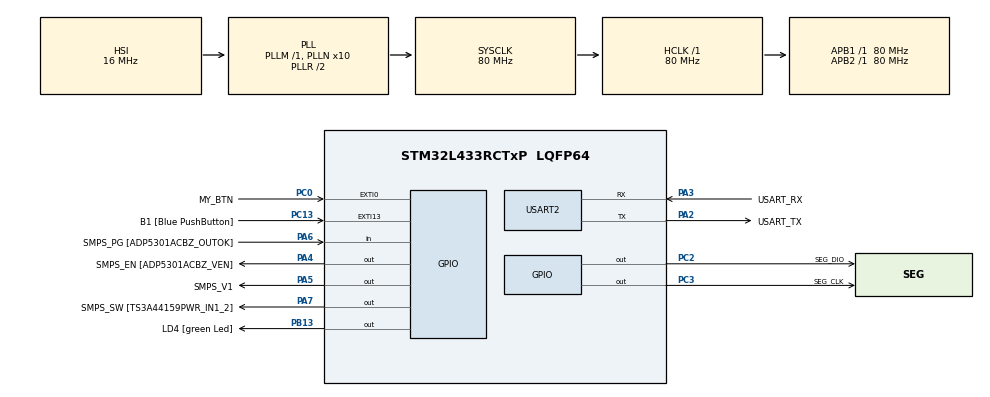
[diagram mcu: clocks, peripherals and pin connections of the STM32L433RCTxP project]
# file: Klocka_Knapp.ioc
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Mcu.Family=STM32L4
Mcu.Name=STM32L433RCTxP
Mcu.Package=LQFP64
NVIC.EXTI0_IRQn=true\:0\:0\:false\:false\:true\:true\:true\:true
NVIC.PriorityGroup=NVIC_PRIORITYGROUP_4
NVIC.TIM2_IRQn=true\:0\:0\:false\:false\:true\:true\:true\:true
PA13\ (JTMS-SWDIO).GPIO_Label=TMS
PA13\ (JTMS-SWDIO).Mode=Serial_Wire
PA13\ (JTMS-SWDIO).Signal=SYS_JTMS-SWDIO
PA14\ (JTCK-SWCLK).GPIO_Label=TCK
PA14\ (JTCK-SWCLK).Mode=Serial_Wire
PA14\ (JTCK-SWCLK).Signal=SYS_JTCK-SWCLK
PA2.GPIO_Label=USART_TX
PA2.GPIO_Mode=GPIO_MODE_AF_PP
PA2.GPIO_PuPd=GPIO_NOPULL
PA2.GPIO_Speed=GPIO_SPEED_FREQ_VERY_HIGH
PA2.Mode=Asynchronous
PA2.Signal=USART2_TX
PA3.GPIO_Label=USART_RX
PA3.GPIO_Mode=GPIO_MODE_AF_PP
PA3.GPIO_PuPd=GPIO_NOPULL
PA3.GPIO_Speed=GPIO_SPEED_FREQ_VERY_HIGH
PA3.Mode=Asynchronous
PA3.Signal=USART2_RX
PA4.GPIO_Label=SMPS_EN [ADP5301ACBZ_VEN]
PA4.Signal=GPIO_Output
PA5.GPIO_Label=SMPS_V1
PA5.GPIO_ModeDefaultOutputPP=GPIO_MODE_OUTPUT_PP
PA5.GPIO_PuPd=GPIO_NOPULL
PA5.GPIO_Speed=GPIO_SPEED_FREQ_LOW
PA5.Signal=GPIO_Output
PA6.GPIO_Label=SMPS_PG [ADP5301ACBZ_OUTOK]
PA6.GPIO_PuPd=GPIO_PULLUP
PA6.Signal=GPIO_Input
PA7.GPIO_Label=SMPS_SW [TS3A44159PWR_IN1_2]
PA7.Signal=GPIO_Output
PB13.GPIO_Label=LD4 [green Led]
PB13.Signal=GPIO_Output
PB3\ (JTDO-TRACESWO).GPIO_Label=SWO
PB3\ (JTDO-TRACESWO).Signal=SYS_JTDO-SWO
PC0.GPIO_Label=MY_BTN
PC0.GPIO_ModeDefaultEXTI=GPIO_MODE_IT_FALLING
PC0.Signal=GPXTI0
PC13.GPIO_Label=B1 [Blue PushButton]
PC13.GPIO_ModeDefaultEXTI=GPIO_MODE_IT_FALLING
PC13.GPIO_PuPd=GPIO_NOPULL
PC13.Signal=GPXTI13
PC14-OSC32_IN\ (PC14).Mode=LSE-External-Oscillator
PC14-OSC32_IN\ (PC14).Signal=RCC_OSC32_IN
PC15-OSC32_OUT\ (PC15).Mode=LSE-External-Oscillator
PC15-OSC32_OUT\ (PC15).Signal=RCC_OSC32_OUT
PC2.GPIO_Label=SEG_DIO
PC2.GPIO_ModeDefaultOutputPP=GPIO_MODE_OUTPUT_OD
PC2.GPIO_PuPd=GPIO_NOPULL
PC2.Signal=GPIO_Output
PC3.GPIO_Label=SEG_CLK
PC3.Signal=GPIO_Output
PH0-OSC_IN\ (PH0).GPIO_Label=MCO
PH0-OSC_IN\ (PH0).Mode=HSE-External-Clock-Source
PH0-OSC_IN\ (PH0).Signal=RCC_OSC_IN
PH1-OSC_OUT\ (PH1).Signal=RCC_OSC_OUT
ProjectManager.HeapSize=0x200
ProjectManager.StackSize=0x400
ProjectManager.TargetToolchain=STM32CubeIDE
RCC.ADCFreq_Value=64000000
RCC.AHBFreq_Value=80000000
RCC.APB1Freq_Value=80000000
RCC.APB1TimFreq_Value=80000000
RCC.APB2Freq_Value=80000000
RCC.APB2TimFreq_Value=80000000
RCC.CortexFreq_Value=80000000
RCC.HCLKFreq_Value=80000000
RCC.HSE_VALUE=8000000
RCC.HSI48_VALUE=48000000
RCC.HSI_VALUE=16000000
RCC.MSI_VALUE=4000000
RCC.PLLN=10
RCC.PLLSourceVirtual=RCC_PLLSOURCE_HSI
RCC.PREFETCH_ENABLE=1
RCC.SYSCLKFreq_VALUE=80000000
RCC.SYSCLKSource=RCC_SYSCLKSOURCE_PLLCLK
RCC.USBFreq_Value=64000000
RCC.VCOOutputFreq_Value=160000000
TIM2.Period=4999
TIM2.Prescaler=7999
USART2.VirtualMode-Asynchronous=VM_ASYNC
VP_TIM2_VS_ClockSourceINT.Mode=Internal
board=NUCLEO-L433RC-P

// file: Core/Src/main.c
/* USER CODE BEGIN Header */
/**
  ******************************************************************************
  * @file           : main.c
  * @brief          : Main program body
  ******************************************************************************
  * @attention
  *
  * Copyright (c) 2026 STMicroelectronics.
  * All rights reserved.
  *
  * This software is licensed under terms that can be found in the LICENSE file
  * in the root directory of this software component.
  * If no LICENSE file comes with this software, it is provided AS-IS.
  *
  ******************************************************************************
  */
/* USER CODE END Header */
#include "main.h"

/* USER CODE BEGIN Includes */
#include <stdio.h>
#include <string.h>
#include "quad_sseg.h"
/* USER CODE END Includes */

/* USER CODE BEGIN PD */
#define BOUNCE_DELAY_MS 20
/* USER CODE END PD */

TIM_HandleTypeDef htim2;

UART_HandleTypeDef huart2;

/* USER CODE BEGIN PV */
uint16_t button_exti_count;
uint16_t button_debounced_count;

uint32_t last_flank_causing_exti;

uint32_t last_managed_exti;

volatile uint32_t clock_half_seconds;

/* USER CODE END PV */

void SystemClock_Config(void);
static void MX_GPIO_Init(void);
static void MX_USART2_UART_Init(void);
static void MX_TIM2_Init(void);
/* USER CODE BEGIN PFP */
void uart_print_menu(void);
int uart_get_menu_choice(void);
void uart_print_bad_choice(void);

void clock_mode(void);
void button_mode(void);
/* USER CODE END PFP */

/* USER CODE BEGIN 0 */
void uart_print_menu(void)
{
    char menu[] =
        "\r\n"
        "1. Clock mode\r\n"
        "2. Button mode\r\n"
        "Choice: ";

    HAL_UART_Transmit(&huart2,
                      (uint8_t *)menu,
                      strlen(menu),
                      HAL_MAX_DELAY);
}

int uart_get_menu_choice(void)
{
    char str[1] = { '\0' };
    uint16_t str_len = 1;

    HAL_UART_Receive(&huart2,
                     (uint8_t *)str,
                     str_len,
                     HAL_MAX_DELAY);

    int ret = -1;
    sscanf(str, "%d", &ret);

    return ret;
}

void uart_print_bad_choice(void)
{
    char msg[] = "\r\nInvalid choice!\r\n";

    HAL_UART_Transmit(&huart2,
                      (uint8_t *)msg,
                      strlen(msg),
                      HAL_MAX_DELAY);
}

void clock_mode(void)
{
	HAL_TIM_Base_Start_IT(&htim2);

	int hours = 23;
	int minutes = 59;
	int seconds = 45;
	uint32_t last_handled_half_second = clock_half_seconds;
	int colon_on = 0;
	int b1_pressed;
	int digit1;
	int digit2;
	int digit3;
	int digit4;
    while (1)
    {
    	b1_pressed =
    	    GPIO_PIN_RESET == HAL_GPIO_ReadPin(B1_GPIO_Port, B1_Pin);
    	if (b1_pressed)
    	{
    	    digit1 = hours / 10;
    	    digit2 = hours % 10;
    	    digit3 = minutes / 10;
    	    digit4 = minutes % 10;
    	}
    	else
    	{
    	    digit1 = minutes / 10;
    	    digit2 = minutes % 10;
    	    digit3 = seconds / 10;
    	    digit4 = seconds % 10;
    	}
    	qs_put_digits(digit1, digit2, digit3, digit4, colon_on);
    	static uint32_t last_colon_half_second = 0;

    	if (clock_half_seconds != last_colon_half_second)
    	{
    	    last_colon_half_second = clock_half_seconds;
    	    colon_on = !colon_on;
    	}
    	b1_pressed =
    	    GPIO_PIN_RESET == HAL_GPIO_ReadPin(B1_GPIO_Port, B1_Pin);
    	if (clock_half_seconds - last_handled_half_second >= 2)
    	{
    	    last_handled_half_second += 2;
    	    seconds++;
    	    if (seconds >= 60)
    	    {
    	        seconds = 0;
    	        minutes++;
    	    }
    	    if (minutes >= 60)
    	    {
    	        minutes = 0;
    	        hours++;
    	    }
    	    if (hours >= 24)
    	    {
    	        hours = 0;
    	    }
    	}
    }
}

void button_mode(void)
{

    int b1_pressed;

    while (1)
    {
    	uint32_t now = HAL_GetTick();

    	if (last_flank_causing_exti != last_managed_exti)
    	{
    		if ((now - last_flank_causing_exti) >= BOUNCE_DELAY_MS)
    		{
    		    int pressed =
    		        GPIO_PIN_RESET == HAL_GPIO_ReadPin(MY_BTN_GPIO_Port, MY_BTN_Pin);

    		    if (pressed)
    		    {
    		        button_debounced_count++;
    		    }

    		    last_managed_exti = last_flank_causing_exti;
    		}
    	}
        b1_pressed =
            GPIO_PIN_RESET == HAL_GPIO_ReadPin(B1_GPIO_Port, B1_Pin);
        qs_put_big_num(b1_pressed ? button_exti_count
                                         : button_debounced_count);

    }
}
/* USER CODE END 0 */

int main(void)
{

  /* MCU Configuration--------------------------------------------------------*/

  /* Reset of all peripherals, Initializes the Flash interface and the Systick. */
  HAL_Init();

  /* Configure the system clock */
  SystemClock_Config();

  /* Initialize all configured peripherals */
  MX_GPIO_Init();
  MX_USART2_UART_Init();
  MX_TIM2_Init();

  /* Infinite loop */
  /* USER CODE BEGIN WHILE */
  while (1)
  {
	  while (1)
	  {
	      uart_print_menu();

	      int menu_choice = uart_get_menu_choice();

	      switch (menu_choice)
	      {
	          case 1:
	              clock_mode();
	              break;

	          case 2:
	              button_mode();
	              break;

	          default:
	              uart_print_bad_choice();
	              break;
	      }
	  }
    /* USER CODE END WHILE */

  }
}

void SystemClock_Config(void)
{
  RCC_OscInitTypeDef RCC_OscInitStruct = {0};
  RCC_ClkInitTypeDef RCC_ClkInitStruct = {0};

  /** Configure the main internal regulator output voltage
  */
  if (HAL_PWREx_ControlVoltageScaling(PWR_REGULATOR_VOLTAGE_SCALE1) != HAL_OK)
  {
    Error_Handler();
  }

  /** Initializes the RCC Oscillators according to the specified parameters
  * in the RCC_OscInitTypeDef structure.
  */
  RCC_OscInitStruct.OscillatorType = RCC_OSCILLATORTYPE_HSI;
  RCC_OscInitStruct.HSIState = RCC_HSI_ON;
  RCC_OscInitStruct.HSICalibrationValue = RCC_HSICALIBRATION_DEFAULT;
  RCC_OscInitStruct.PLL.PLLState = RCC_PLL_ON;
  RCC_OscInitStruct.PLL.PLLSource = RCC_PLLSOURCE_HSI;
  RCC_OscInitStruct.PLL.PLLM = 1;
  RCC_OscInitStruct.PLL.PLLN = 10;
  RCC_OscInitStruct.PLL.PLLP = RCC_PLLP_DIV7;
  RCC_OscInitStruct.PLL.PLLQ = RCC_PLLQ_DIV2;
  RCC_OscInitStruct.PLL.PLLR = RCC_PLLR_DIV2;
  if (HAL_RCC_OscConfig(&RCC_OscInitStruct) != HAL_OK)
  {
    Error_Handler();
  }

  /** Initializes the CPU, AHB and APB buses clocks
  */
  RCC_ClkInitStruct.ClockType = RCC_CLOCKTYPE_HCLK|RCC_CLOCKTYPE_SYSCLK
                              |RCC_CLOCKTYPE_PCLK1|RCC_CLOCKTYPE_PCLK2;
  RCC_ClkInitStruct.SYSCLKSource = RCC_SYSCLKSOURCE_PLLCLK;
  RCC_ClkInitStruct.AHBCLKDivider = RCC_SYSCLK_DIV1;
  RCC_ClkInitStruct.APB1CLKDivider = RCC_HCLK_DIV1;
  RCC_ClkInitStruct.APB2CLKDivider = RCC_HCLK_DIV1;

  if (HAL_RCC_ClockConfig(&RCC_ClkInitStruct, FLASH_LATENCY_4) != HAL_OK)
  {
    Error_Handler();
  }
}

static void MX_TIM2_Init(void)
{

  TIM_ClockConfigTypeDef sClockSourceConfig = {0};
  TIM_MasterConfigTypeDef sMasterConfig = {0};

  htim2.Instance = TIM2;
  htim2.Init.Prescaler = 7999;
  htim2.Init.CounterMode = TIM_COUNTERMODE_UP;
  htim2.Init.Period = 4999;
  htim2.Init.ClockDivision = TIM_CLOCKDIVISION_DIV1;
  htim2.Init.AutoReloadPreload = TIM_AUTORELOAD_PRELOAD_DISABLE;
  if (HAL_TIM_Base_Init(&htim2) != HAL_OK)
  {
    Error_Handler();
  }
  sClockSourceConfig.ClockSource = TIM_CLOCKSOURCE_INTERNAL;
  if (HAL_TIM_ConfigClockSource(&htim2, &sClockSourceConfig) != HAL_OK)
  {
    Error_Handler();
  }
  sMasterConfig.MasterOutputTrigger = TIM_TRGO_RESET;
  sMasterConfig.MasterSlaveMode = TIM_MASTERSLAVEMODE_DISABLE;
  if (HAL_TIMEx_MasterConfigSynchronization(&htim2, &sMasterConfig) != HAL_OK)
  {
    Error_Handler();
  }

}

static void MX_USART2_UART_Init(void)
{

  huart2.Instance = USART2;
  huart2.Init.BaudRate = 115200;
  huart2.Init.WordLength = UART_WORDLENGTH_8B;
  huart2.Init.StopBits = UART_STOPBITS_1;
  huart2.Init.Parity = UART_PARITY_NONE;
  huart2.Init.Mode = UART_MODE_TX_RX;
  huart2.Init.HwFlowCtl = UART_HWCONTROL_NONE;
  huart2.Init.OverSampling = UART_OVERSAMPLING_16;
  huart2.Init.OneBitSampling = UART_ONE_BIT_SAMPLE_DISABLE;
  huart2.AdvancedInit.AdvFeatureInit = UART_ADVFEATURE_NO_INIT;
  if (HAL_UART_Init(&huart2) != HAL_OK)
  {
    Error_Handler();
  }

}

static void MX_GPIO_Init(void)
{
  GPIO_InitTypeDef GPIO_InitStruct = {0};

  /* GPIO Ports Clock Enable */
  __HAL_RCC_GPIOC_CLK_ENABLE();
  __HAL_RCC_GPIOH_CLK_ENABLE();
  __HAL_RCC_GPIOA_CLK_ENABLE();
  __HAL_RCC_GPIOB_CLK_ENABLE();

  /*Configure GPIO pin Output Level */
  HAL_GPIO_WritePin(GPIOC, SEG_DIO_Pin|SEG_CLK_Pin, GPIO_PIN_RESET);

  /*Configure GPIO pin Output Level */
  HAL_GPIO_WritePin(GPIOA, SMPS_EN_Pin|SMPS_V1_Pin|SMPS_SW_Pin, GPIO_PIN_RESET);

  /*Configure GPIO pin Output Level */
  HAL_GPIO_WritePin(LD4_GPIO_Port, LD4_Pin, GPIO_PIN_RESET);

  /*Configure GPIO pins : B1_Pin MY_BTN_Pin */
  GPIO_InitStruct.Pin = B1_Pin|MY_BTN_Pin;
  GPIO_InitStruct.Mode = GPIO_MODE_IT_FALLING;
  GPIO_InitStruct.Pull = GPIO_NOPULL;
  HAL_GPIO_Init(GPIOC, &GPIO_InitStruct);

  /*Configure GPIO pin : SEG_DIO_Pin */
  GPIO_InitStruct.Pin = SEG_DIO_Pin;
  GPIO_InitStruct.Mode = GPIO_MODE_OUTPUT_OD;
  GPIO_InitStruct.Pull = GPIO_NOPULL;
  GPIO_InitStruct.Speed = GPIO_SPEED_FREQ_LOW;
  HAL_GPIO_Init(SEG_DIO_GPIO_Port, &GPIO_InitStruct);

  /*Configure GPIO pin : SEG_CLK_Pin */
  GPIO_InitStruct.Pin = SEG_CLK_Pin;
  GPIO_InitStruct.Mode = GPIO_MODE_OUTPUT_PP;
  GPIO_InitStruct.Pull = GPIO_NOPULL;
  GPIO_InitStruct.Speed = GPIO_SPEED_FREQ_LOW;
  HAL_GPIO_Init(SEG_CLK_GPIO_Port, &GPIO_InitStruct);

  /*Configure GPIO pins : SMPS_EN_Pin SMPS_V1_Pin SMPS_SW_Pin */
  GPIO_InitStruct.Pin = SMPS_EN_Pin|SMPS_V1_Pin|SMPS_SW_Pin;
  GPIO_InitStruct.Mode = GPIO_MODE_OUTPUT_PP;
  GPIO_InitStruct.Pull = GPIO_NOPULL;
  GPIO_InitStruct.Speed = GPIO_SPEED_FREQ_LOW;
  HAL_GPIO_Init(GPIOA, &GPIO_InitStruct);

  /*Configure GPIO pin : SMPS_PG_Pin */
  GPIO_InitStruct.Pin = SMPS_PG_Pin;
  GPIO_InitStruct.Mode = GPIO_MODE_INPUT;
  GPIO_InitStruct.Pull = GPIO_PULLUP;
  HAL_GPIO_Init(SMPS_PG_GPIO_Port, &GPIO_InitStruct);

  /*Configure GPIO pin : LD4_Pin */
  GPIO_InitStruct.Pin = LD4_Pin;
  GPIO_InitStruct.Mode = GPIO_MODE_OUTPUT_PP;
  GPIO_InitStruct.Pull = GPIO_NOPULL;
  GPIO_InitStruct.Speed = GPIO_SPEED_FREQ_LOW;
  HAL_GPIO_Init(LD4_GPIO_Port, &GPIO_InitStruct);

  /* EXTI interrupt init*/
  HAL_NVIC_SetPriority(EXTI0_IRQn, 0, 0);
  HAL_NVIC_EnableIRQ(EXTI0_IRQn);

}

/* USER CODE BEGIN 4 */
void HAL_GPIO_EXTI_Callback(uint16_t GPIO_Pin)
{
    if (GPIO_Pin == MY_BTN_Pin)
    {
        button_exti_count++;
        last_flank_causing_exti = HAL_GetTick();
    }
}

void HAL_TIM_PeriodElapsedCallback(TIM_HandleTypeDef *htim)
{
    if (htim->Instance == TIM2)
    {
    	clock_half_seconds++;

    }
}
/* USER CODE END 4 */

void Error_Handler(void)
{
  __disable_irq();
  while (1)
  {
  }
}
